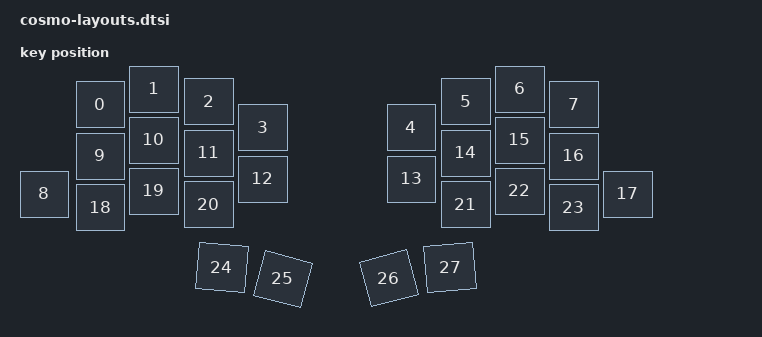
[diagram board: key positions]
#include <physical_layouts.dtsi>

/ {
    cosmo_layout: physical_layout_0 {
        compatible = "zmk,physical-layout";
        display-name = "cosmo";

        kscan = <&kscan0>;
        transform = <&matrix_transform0>;

        keys  //                     w   h    x    y     rot    rx    ry
            = <&key_physical_attrs 105 100  112   31       0     0     0>
            , <&key_physical_attrs 105 100  219    0       0     0     0>
            , <&key_physical_attrs 105 100  329   25       0     0     0>
            , <&key_physical_attrs 105 100  437   77       0     0     0>
            , <&key_physical_attrs 105 100  734   77       0     0     0>
            , <&key_physical_attrs 105 100  843   25       0     0     0>
            , <&key_physical_attrs 105 100  951    0       0     0     0>
            , <&key_physical_attrs 105 100 1059   31       0     0     0>
            , <&key_physical_attrs 105 100    0  210       0     0     0>
            , <&key_physical_attrs 105 100  112  134       0     0     0>
            , <&key_physical_attrs 105 100  219  102       0     0     0>
            , <&key_physical_attrs 105 100  329  128       0     0     0>
            , <&key_physical_attrs 105 100  437  180       0     0     0>
            , <&key_physical_attrs 105 100  734  180       0     0     0>
            , <&key_physical_attrs 105 100  843  128       0     0     0>
            , <&key_physical_attrs 105 100  951  102       0     0     0>
            , <&key_physical_attrs 105 100 1059  134       0     0     0>
            , <&key_physical_attrs 105 100 1167  210       0     0     0>
            , <&key_physical_attrs 105 100  112  237       0     0     0>
            , <&key_physical_attrs 105 100  219  204       0     0     0>
            , <&key_physical_attrs 105 100  329  231       0     0     0>
            , <&key_physical_attrs 105 100  843  231       0     0     0>
            , <&key_physical_attrs 105 100  951  204       0     0     0>
            , <&key_physical_attrs 105 100 1059  237       0     0     0>
            , <&key_physical_attrs 105 100  356  361     500   455   400>
            , <&key_physical_attrs 105 100  465  386    1500   546   480>
            , <&key_physical_attrs 105 100  701  390 (-1500)   704   480>
            , <&key_physical_attrs 105 100  811  361  (-500)   816   400>
            ;
    };
};

